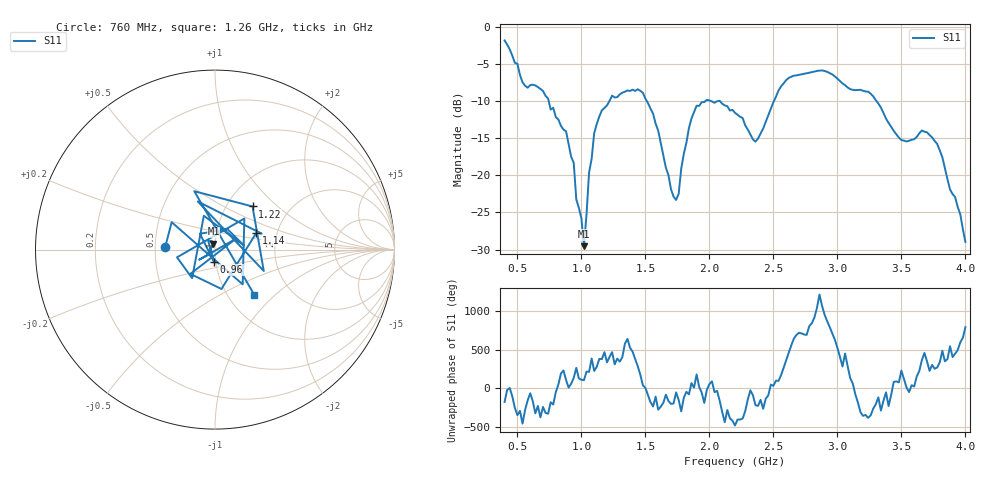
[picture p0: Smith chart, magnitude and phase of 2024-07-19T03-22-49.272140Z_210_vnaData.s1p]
!Created with skrf (http://scikit-rf.org).
# Hz S RI R 50.0
!freq ReS11 ImS11
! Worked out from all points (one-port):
!   181 points, 400 MHz to 4 GHz, reference 50 ohm
!   lowest |S11| = -29.6 dB at 1.02 GHz (marker M1), VSWR 1.07, Z = 49.1 + j3.16 ohm
!   |S11| at or under -10 dB: 744.9 MHz to 1.218 GHz (473.1 MHz wide, 48.2 % of centre); 1.512 GHz to 1.967 GHz (455.5 MHz wide, 26.2 % of centre); 3.306 GHz to end of sweep (the widest 3 of 5)
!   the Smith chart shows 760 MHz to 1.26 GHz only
!   S11 on the Smith chart (normalised r, x): 760 MHz: 0.57, +0.02; 960 MHz: 0.98, -0.13; 1.14 GHz: 1.56, +0.32; 1.22 GHz: 1.32, +0.70; 1.26 GHz: 1.32, -0.75
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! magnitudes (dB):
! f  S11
! 400 MHz  -1.8
! 540 MHz  -7.4
! 760 MHz  -11.1
! 860 MHz  -13.8
! 940 MHz  -18.3
! 960 MHz  -23.2
! 1 GHz  -25.8
! 1.02 GHz  -29.6
! 1.06 GHz  -19.6
! 1.14 GHz  -12.1
! 1.22 GHz  -9.9
! 1.26 GHz  -9.5
! 1.3 GHz  -9.1
! 1.48 GHz  -8.9
! 1.6 GHz  -14.0
! 1.72 GHz  -22.9
! 1.76 GHz  -22.5
! 1.84 GHz  -13.6
! 1.9 GHz  -10.6
! 2.2 GHz  -11.6
! 2.36 GHz  -15.4
! 2.66 GHz  -6.5
! 2.9 GHz  -5.9
! 3.1 GHz  -8.4
! 3.26 GHz  -9.0
! 3.56 GHz  -15.3
! 3.78 GHz  -15.8
! 4 GHz  -29.0
